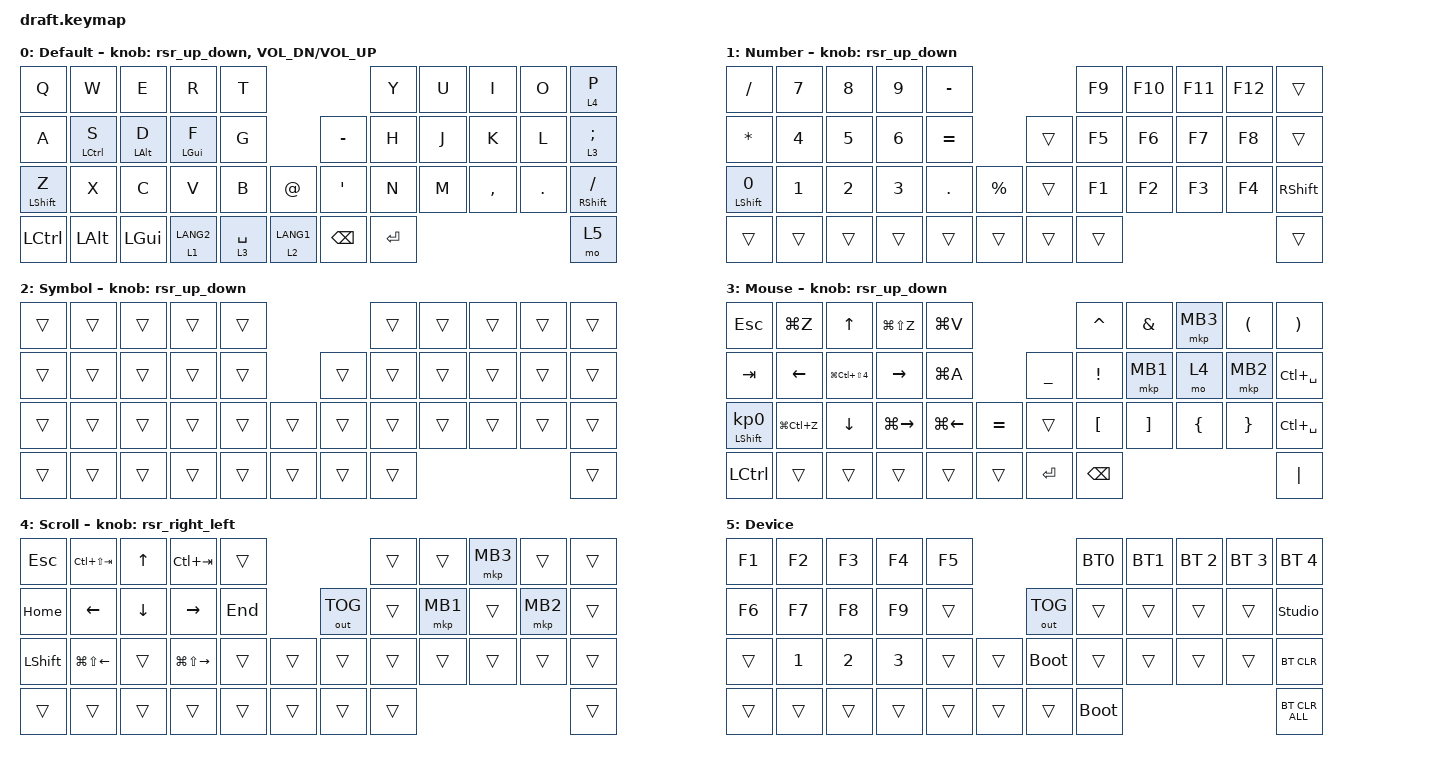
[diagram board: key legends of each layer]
#include <input/processors.dtsi>
#include <dt-bindings/zmk/input_transform.h>
#include <zephyr/dt-bindings/input/input-event-codes.h>
#include <behaviors/runtime-sensor-rotate.dtsi>
#include <behaviors.dtsi>
/* DYA Studio から作成したマクロを呼び出す `&rmacro <slot>` を定義する。
   slot は 0 〜 CONFIG_ZMK_RUNTIME_MACRO_COUNT-1 (現状 0〜7)。
   どのマクロがどのスロットに入っているかは DYA Studio のマクロ一覧で確認する。
   キーへの割り当ては DYA Studio のキーマップエディタからも行える。 */
#include <behaviors/runtime_macro.dtsi>
/* デフォルトレイヤー変更 behavior `&df`。
   DYA Studio の「OSごとのデフォルトレイヤー」から設定できるほか、
   キーマップエディタで `&df DF_SEL <layer>` / `&df DF_INC` を
   任意のキーに割り当てられる。 */
#include <behaviors/default_layer.dtsi>
#include <dt-bindings/zmk_behavior_default_layer/default_layer.h>
#include <dt-bindings/zmk/bt.h>
#include <dt-bindings/zmk/keys.h>
#include <dt-bindings/zmk/outputs.h>
#include <dt-bindings/zmk/pointing.h>
/* ZMK Layout Shift Module */
#include <layout_shift_kp_override.dtsi>

/* ZMK 側で 10 が定義済みなので警告回避のため一旦 undef */

#undef ZMK_POINTING_DEFAULT_SCRL_VAL

#define ZMK_POINTING_DEFAULT_SCRL_VAL 100

/ {
    behaviors {
        mg_set_0: behavior_mg_set_0 {
            compatible = "zmk,behavior-mg-set-fixed";
            #binding-cells = <0>;
            display-name = "Mouse Gesture Key 0";
        };

        mg_set_1: behavior_mg_set_1 {
            compatible = "zmk,behavior-mg-set-fixed";
            #binding-cells = <0>;
            display-name = "Mouse Gesture Key 1";
        };

        mg_set_2: behavior_mg_set_2 {
            compatible = "zmk,behavior-mg-set-fixed";
            #binding-cells = <0>;
            display-name = "Mouse Gesture Key 2";
        };
    };
};

&mt {
    flavor = "balanced";
    quick-tap-ms = <200>;
    require-prior-idle-ms = <150>;
};

&lt {
    quick-tap-ms = <200>;
    flavor = "tap-preferred";
    tapping-term-ms = <300>;
    require-prior-idle-ms = <150>;
};

&msc {
    delay-ms = <0>;
    time-to-max-speed-ms = <0>;
    acceleration-exponent = <0>;
};

&tog_ls { layout-maps = <&layout_shift_map_us_to_jis &layout_shift_map_swap_ctrl_cmd>; };
&tog_ls_on { layout-maps = <&layout_shift_map_us_to_jis &layout_shift_map_swap_ctrl_cmd>; };
&tog_ls_off { layout-maps = <&layout_shift_map_us_to_jis &layout_shift_map_swap_ctrl_cmd>; };

/ {
    /* ─────────────────────────────────────────────────────────────
       コンボ (DYA Studio から編集可能)

       旧 `combos { compatible = "zmk,combos"; }` はコンパイル時固定で
       DYA Studio から編集できないため、zmk-feature-runtime-combo の
       「コンパイル時デフォルト」ノードへ移行した。
       ここに書いた内容はフラッシュ直後から有効で、設定を消しても復活する。
       DYA Studio 側で編集するとそのスロットだけ上書きされ、
       Web UI の "Reset to Default" でここの値へ戻せる。

       スロット総数は CONFIG_ZMK_RUNTIME_COMBO_MAX_COMBOS (現状 16)。
       未使用スロット (2〜15) は DYA Studio から自由に追加できる。
       ────────────────────────────────────────────────────────── */
    runtime_combo_defaults {
        compatible = "cormoran,runtime-combo-defaults";

        esc {
            slot = <0>;
            display-name = "Esc";
            key-positions = <38 39>;
            bindings = <&kp ESC>;
        };

        tab {
            slot = <1>;
            display-name = "Tab";
            key-positions = <11 12>;
            bindings = <&kp TAB>;
        };

        toggle_us_jis {
            slot = <2>;
            display-name = "Toggle US<->JIS";
            key-positions = <4 5>;
            bindings = <&tog_ls>;
        };
    };

    /* 静的マクロ。キーマップ上で &BT0 / &screenshot などの名前で直接
       参照しているため、そのまま残している (DYA Studio 上では編集不可)。
       DYA Studio から編集したいマクロは Web UI で新規作成し、
       キーに `&rmacro <slot>` を割り当てて使う。 */
    macros {
        to_layer_0: to_layer_0 {
            compatible = "zmk,behavior-macro-one-param";
            #binding-cells = <1>;
            bindings = <&to 0 &macro_param_1to1 &kp MACRO_PLACEHOLDER>;
            label = "TO_LAYER_0";
        };

        BT0: BT0 {
            compatible = "zmk,behavior-macro";
            #binding-cells = <0>;
            bindings =
                <&tog_off 0 &tog_off 1>,
                <&macro_wait_time 200>,
                <&bt BT_SEL 0>,
                <&macro_wait_time 500>,
                <&tog_on 0>;

            label = "BT0";
        };

        BT1: BT1 {
            compatible = "zmk,behavior-macro";
            #binding-cells = <0>;
            bindings =
                <&tog_off 0 &tog_off 1>,
                <&macro_wait_time 200>,
                <&bt BT_SEL 1>,
                <&macro_wait_time 500>,
                <&tog_on 1>;

            label = "BT1";
        };

        screenshot: screenshot {
            compatible = "zmk,behavior-macro";
            #binding-cells = <0>;
            bindings =
                <&macro_press>,
                <&kp LEFT_GUI &kp RSHIFT>,
                <&macro_wait_time 20>,
                <&macro_tap>,
                <&kp S>,
                <&macro_release>,
                <&kp LEFT_GUI &kp RSHIFT>;

            label = "SCREENSHOT";
        };

        henkan: henkan {
            compatible = "zmk,behavior-macro";
            #binding-cells = <0>;
            bindings =
                <&macro_press>,
                <&kp LEFT_ALT>,
                <&macro_wait_time 20>,
                <&macro_tap>,
                <&kp GRAVE>,
                <&macro_release>,
                <&kp LEFT_ALT>;

            label = "HENKAN";
        };
    };

    behaviors {
        lt_to_layer_0: lt_to_layer_0 {
            compatible = "zmk,behavior-hold-tap";
            label = "LAYER_TAP_TO_0";
            bindings = <&mo>, <&to_layer_0>;

            #binding-cells = <2>;
            tapping-term-ms = <200>;
        };

        tp_repeat_mo1: tp_repeat_mo1 {
            compatible = "zmk,behavior-hold-tap";
            label = "TP_REPEAT_MO1";
            bindings = <&mo>, <&key_repeat>;

            #binding-cells = <2>;
            tapping-term-ms = <200>;
        };

        // エンコーダ用 runtime-configurable sensor rotate
        // デフォルトはスクロール (cw=SCRL_DOWN, ccw=SCRL_UP)
        // DYA Studio Web UI から レイヤーごとに cw/ccw の binding を
        // kp C_VOL_UP/DN や kp LEFT/RIGHT などへ動的変更可能

        rsr_up_down: rsr_up_down {
            compatible = "zmk,behavior-runtime-sensor-rotate";
            #sensor-binding-cells = <0>;
            tap-ms = <16>;
            cw-binding = <&msc SCRL_DOWN>;
            ccw-binding = <&msc SCRL_UP>;
        };

        rsr_right_left: rsr_right_left {
            compatible = "zmk,behavior-sensor-rotate";
            #sensor-binding-cells = <0>;
            tap-ms = <16>;
            cw-binding = <&msc SCRL_LEFT>;
            ccw-binding = <&msc SCRL_RIGHT>;
        };

        tog_on: toggle_layer_on_only {
            compatible = "zmk,behavior-toggle-layer";
            #binding-cells = <1>;
            display-name = "Toggle Layer On";
            toggle-mode = "on";
        };

        tog_off: toggle_layer_off_only {
            compatible = "zmk,behavior-toggle-layer";
            #binding-cells = <1>;
            display-name = "Toggle Layer Off";
            toggle-mode = "off";
        };

        zfold: zfold {
            compatible = "zmk,behavior-hold-tap";
            label = "ZFOLD";
            bindings = <&kp>, <&kp>;

            #binding-cells = <2>;
            tapping-term-ms = <300>;
            flavor = "hold-preferred";
            quick-tap-ms = <150>;
            hold-while-undecided;
        };

        zfoldZ: zfoldZ {
            compatible = "zmk,behavior-tap-dance";
            label = "ZFOLDZ";
            #binding-cells = <0>;
            bindings = <&zfold LEFT_SHIFT Z>, <&kp LS(Z)>;
        };
    };

    keymap {
        compatible = "zmk,keymap";

        default_layer {
            display-name = "Default";
            bindings = <
&kp Q             &kp W              &kp E          &kp R          &kp T                                      &kp Y          &kp U  &kp I      &kp O    &lt 4 P
&kp A             &mt LEFT_CONTROL S &mt LEFT_ALT D &mt LEFT_GUI F &kp G                       &kp MINUS      &kp H          &kp J  &kp K      &kp L    &lt 3 SEMICOLON
&mt LEFT_SHIFT Z  &kp X              &kp C          &kp V          &kp B        &kp AT_SIGN    &kp SQT        &kp N          &kp M  &kp COMMA  &kp DOT  &mt RIGHT_SHIFT SLASH
&kp LEFT_CONTROL  &kp LEFT_ALT       &kp LEFT_GUI   &lt 1 LANG2    &lt 3 SPACE  &lt 2 LANG1    &kp BACKSPACE  &kp ENTER                                 &mo 5
            >;

            sensor-bindings = <&rsr_up_down>, <&inc_dec_kp C_VOL_DN C_VOL_UP>;
        };

        number_layer {
            display-name = "Number";
            bindings = <
&kp SLASH               &kp NUMBER_7 &kp NUMBER_8 &kp NUMBER_9 &kp MINUS                       &kp F9   &kp F10 &kp F11 &kp F12 &trans
&kp ASTERISK            &kp NUMBER_4 &kp NUMBER_5 &kp NUMBER_6 &kp EQUAL                &trans &kp F5   &kp F6  &kp F7  &kp F8  &trans
&mt LEFT_SHIFT NUMBER_0 &kp NUMBER_1 &kp NUMBER_2 &kp NUMBER_3 &kp DOT   &kp PERCENT    &trans &kp F1   &kp F2  &kp F3  &kp F4  &kp RIGHT_SHIFT
&trans                  &trans       &trans       &trans       &trans    &trans         &trans &trans                           &trans
            >;

            sensor-bindings = <&rsr_up_down>;
        };

        symbol_layer {
            display-name = "Symbol";
            bindings = <
&trans  &trans  &trans  &trans  &trans                    &trans  &trans  &trans  &trans  &trans
&trans  &trans  &trans  &trans  &trans            &trans  &trans  &trans  &trans  &trans  &trans
&trans  &trans  &trans  &trans  &trans  &trans    &trans  &trans  &trans  &trans  &trans  &trans
&trans  &trans  &trans  &trans  &trans  &trans    &trans  &trans                          &trans
            >;

            sensor-bindings = <&rsr_up_down>;
        };

        mouse_layer {
            display-name = "Mouse";
            bindings = <
&kp ESCAPE                  &kp LG(Z)       &kp UP_ARROW              &kp LG(LS(Z))    &kp LG(V)                                  &kp CARET         &kp AMPERSAND      &mkp MB3        &kp LEFT_PARENTHESIS  &kp RIGHT_PARENTHESIS
&kp TAB                     &kp LEFT_ARROW  &kp LG(LC(LS(NUMBER_4)))  &kp RIGHT_ARROW  &kp LG(A)                  &kp UNDERSCORE  &kp EXCLAMATION   &mkp MB1           &mo 4           &mkp MB2              &kp LC(SPACE)
&mt LEFT_SHIFT KP_NUMBER_0  &kp LG(LC(Z))   &kp DOWN_ARROW            &kp LG(RIGHT)    &kp LG(LEFT)  &kp EQUAL    &trans          &kp LEFT_BRACKET  &kp RIGHT_BRACKET  &kp LEFT_BRACE  &kp RIGHT_BRACE       &kp LC(SPACE)
&kp LCTRL                   &trans          &trans                    &trans           &trans        &trans       &kp ENTER       &kp BACKSPACE                                                              &kp PIPE
            >;

            sensor-bindings = <&rsr_up_down>;
        };

        scroll_layer {
            display-name = "Scroll";
            bindings = <
&kp ESCAPE      &kp LC(LS(TAB))         &kp UP_ARROW    &kp LC(TAB)              &trans                           &trans  &trans    &mkp MB3  &trans    &trans
&kp HOME        &kp LEFT_ARROW          &kp DOWN_ARROW  &kp RIGHT_ARROW          &kp END            &out OUT_TOG  &trans  &mkp MB1  &trans    &mkp MB2  &trans
&kp LEFT_SHIFT  &kp LG(LS(LEFT_ARROW))  &trans          &kp LG(LS(RIGHT_ARROW))  &trans   &trans    &trans        &trans  &trans    &trans    &trans    &trans
&trans          &trans                  &trans          &trans                   &trans   &trans    &trans        &trans                                &trans
            >;

            sensor-bindings = <&rsr_right_left>;
        };

        device_layer {
            display-name = "Device";
            bindings = <
&kp F1  &kp F2        &kp F3        &kp F4        &kp F5                          &BT0         &BT1    &bt BT_SEL 2  &bt BT_SEL 3  &bt BT_SEL 4
&kp F6  &kp F7        &kp F8        &kp F9        &trans            &out OUT_TOG  &trans       &trans  &trans        &trans        &studio_unlock
&trans  &kp NUMBER_1  &kp NUMBER_2  &kp NUMBER_3  &trans  &trans    &bootloader   &trans       &trans  &trans        &trans        &bt BT_CLR
&trans  &trans        &trans        &trans        &trans  &trans    &trans        &bootloader                                      &bt BT_CLR_ALL
            >;
        };
    };
};
